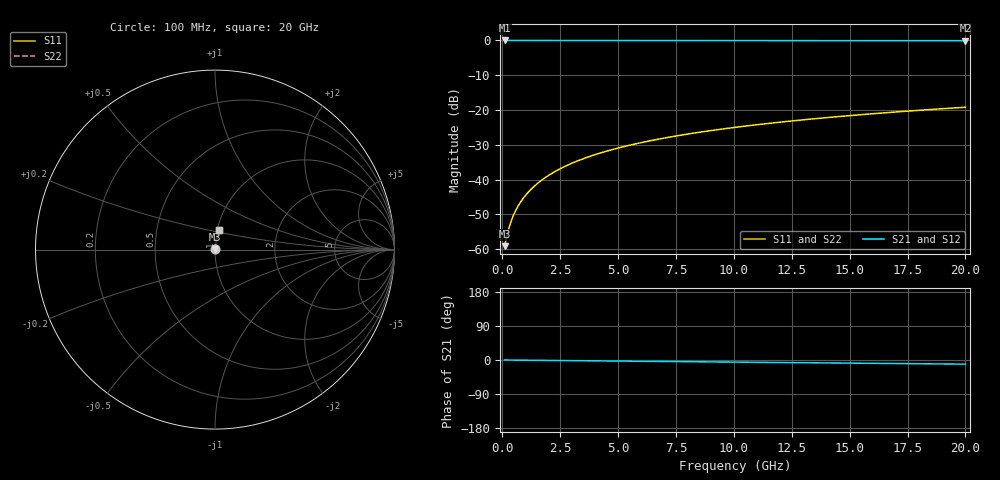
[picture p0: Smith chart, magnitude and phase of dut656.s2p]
! Touchstone file exported from HFSS 2026.1.0
!  File:  C:/ffzhzh/LocalFiles/Ansys_Project_Files/temp_train_BSMRDL_656_1783017056_55676.aedt
!  Generated:  02:32:20 AM Jul  3, 2026
!  Design:  BSMRDL
!  Project:  temp_train_BSMRDL_656_1783017056_55676
! Variables:
!  h_bsmrdl = 3.06um
!  h_ox = 20um
!  h_rdl = 5um
!  h_sub = 80um
!  h_tmrdl = 5um
!  h_tsv = 80um
!  h_via = 3um
!  l_bsmrdl = 125.03um
!  l_sub = 525.03um
!  l_tmrdl = 200um
!  m_sub = 200um
!  pitch = 44.81um
!  r_tsv = 6um
!  s_tmrdl = 10um
!  w_bsmrdl = 22.56um
!  w_sub = 500um
!  w_tmrdl = 12um
!  x_tsv_center1 = 206um
!  x_tsv_center2 = 353.59um
!  x_tsv_center3 = 565.59um
!  x_tsv_center4 = 713.18um
!  x_tsv_center5 = 925.18um
!  x_tsv_center6 = 1072.77um
# GHz S MA R 50.000000
! Terminal data exported
! Port[1] = BSM_RDL1_1_T1
! Port[2] = BSM_RDL1_1_T2
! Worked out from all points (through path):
!   200 points, 100 MHz to 20 GHz, reference 50 ohm
!   highest |S21| = -0.01 dB at 100 MHz (marker M1); lowest = -0.1 dB at 20 GHz (marker M2)
!   group delay of S21, straight-line fit = 1.52 ps
!   lowest |S11| = -59.1 dB at 100 MHz (marker M3), VSWR 1.00, Z = 50.1 + j0.0631 ohm
!   |S11| at or under -10 dB: start of sweep to end of sweep
!   |S22| runs from -59.1 to -19.2 dB; largest |S21 - S12| = 3.2e-15
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0.1  0.001108 34.6  0.9991 -0.1  0.9991 -0.1  0.001108 34.6
! Gamma 0 0 0 0
! Port Impedance 50 0 50 0
0.2  0.001563 52.7  0.9991 -0.1  0.9991 -0.1  0.001563 52.7
0.3  0.002089 61.7  0.999 -0.2  0.999 -0.2  0.002089 61.7
0.4  0.002631 66.9  0.999 -0.2  0.999 -0.2  0.002631 66.9
0.5  0.003176 70.3  0.9989 -0.3  0.9989 -0.3  0.003176 70.3
0.6  0.003723 72.7  0.9989 -0.3  0.9989 -0.3  0.003723 72.7
0.8  0.004821 76.1  0.9989 -0.5  0.9989 -0.5  0.004821 76.1
1.1  0.006483 79.1  0.9988 -0.6  0.9988 -0.6  0.006483 79.1
1.3  0.0076 80.4  0.9988 -0.7  0.9988 -0.7  0.0076 80.4
1.6  0.009283 81.7  0.9988 -0.9  0.9988 -0.9  0.009283 81.7
2.1  0.0121 82.9  0.9987 -1.2  0.9987 -1.2  0.0121 82.9
2.7  0.01549 83.7  0.9986 -1.5  0.9986 -1.5  0.01549 83.7
3.5  0.02001 84.1  0.9984 -2.0  0.9984 -2.0  0.02001 84.1
4.2  0.02395 84.2  0.9983 -2.3  0.9983 -2.3  0.02395 84.2
5  0.02845 84.1  0.998 -2.8  0.998 -2.8  0.02845 84.1
5.9  0.03348 83.8  0.9978 -3.3  0.9978 -3.3  0.03348 83.8
6.8  0.0385 83.5  0.9974 -3.8  0.9974 -3.8  0.0385 83.5
8.3  0.0468 82.9  0.9969 -4.6  0.9969 -4.6  0.0468 82.9
10.1  0.05667 82.1  0.9961 -5.6  0.9961 -5.6  0.05667 82.1
13.4  0.07458 80.5  0.9945 -7.4  0.9945 -7.4  0.07458 80.5
16.7  0.09224 78.9  0.9926 -9.2  0.9926 -9.2  0.09224 78.9
20  0.1097 77.2  0.9905 -10.9  0.9905 -10.9  0.1097 77.2
